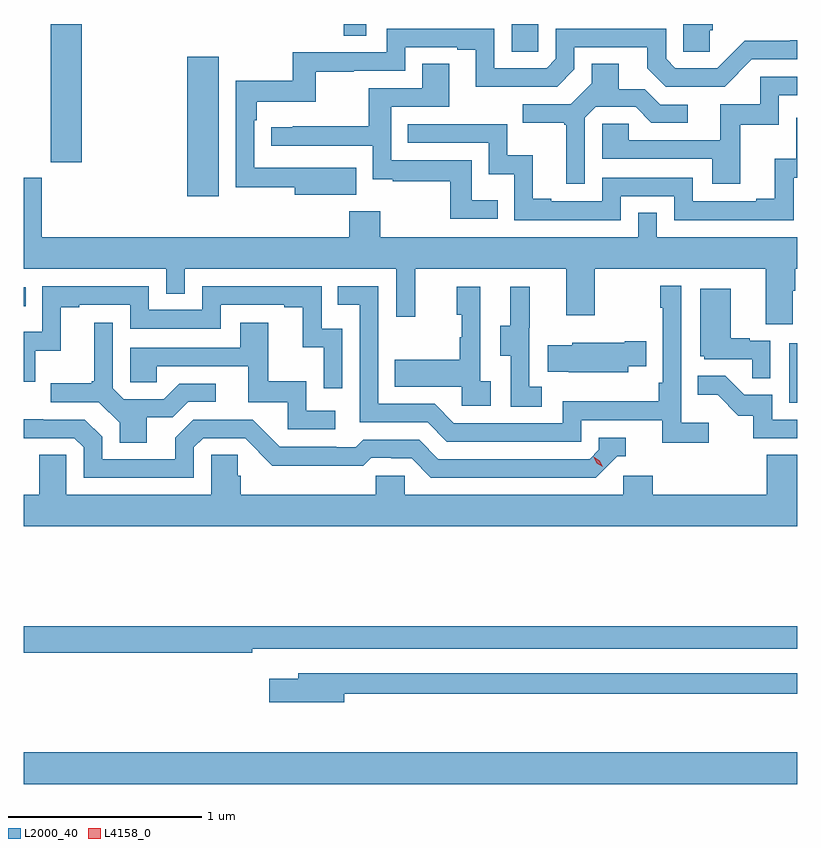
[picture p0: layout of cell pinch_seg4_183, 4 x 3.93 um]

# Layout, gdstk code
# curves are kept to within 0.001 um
import gdstk
lib = gdstk.Library(unit=1e-6, precision=1e-09)
def R(c, l, rs):  # rectangles x0, y0, x1, y1
    for r in rs: c.add(gdstk.rectangle(r[:2], r[2:], *l))
def P(c, l, *ps):  # polygons
    for p in ps: c.add(gdstk.Polygon(p, *l))
L2000_40 = (2000, 40)
L4158_0 = (4158, 0)

pinch_seg4_183 = lib.new_cell('pinch_seg4_183')
R(pinch_seg4_183, L2000_40, [(1089.362,803.48,1093.362,803.644), (1093.322,805.452,1093.362,805.759), (1089.362,805.952,1089.371,806.049), (1090.208,806.52,1090.369,807.241), (1089.502,806.697,1089.662,807.411), (1091.885,807.268,1092.024,807.411), (1091.017,807.349,1091.133,807.411)])
P(pinch_seg4_183, L2000_40, [(1092.911,807.378),(1092.926,807.378),(1092.926,807.411),(1092.774,807.411),(1092.774,807.268),(1092.911,807.268)],
  [(1091.081,806.668),(1090.554,806.667),(1090.554,806.912),(1090.568,806.912),(1090.568,807.008),(1090.873,807.008),(1090.873,807.163),(1091.069,807.163),(1091.069,807.168),(1091.334,807.168),(1091.334,807.291),(1091.603,807.291),(1091.603,807.279),(1091.699,807.279),(1091.699,807.086),(1092.12,807.087),(1092.21,807.177),(1092.21,807.291),(1092.587,807.291),(1092.587,807.181),(1092.681,807.087),(1092.987,807.087),(1093.128,807.228),(1093.362,807.228),(1093.362,807.328),(1093.326,807.328),(1093.326,807.325),(1093.09,807.325),(1092.948,807.183),(1092.732,807.183),(1092.684,807.231),(1092.684,807.387),(1092.114,807.387),(1092.114,807.231),(1092.066,807.183),(1091.796,807.183),(1091.796,807.387),(1091.238,807.387),(1091.238,807.264),(1090.752,807.264),(1090.752,807.118),(1090.458,807.118),(1090.458,806.566),(1090.763,806.566),(1090.763,806.528),(1091.081,806.528)],
  [(1091.813,806.5),(1091.679,806.5),(1091.679,806.706),(1091.262,806.706),(1091.262,806.982),(1091.563,806.982),(1091.563,807.206),(1091.423,807.206),(1091.423,807.078),(1091.146,807.078),(1091.146,806.882),(1090.753,806.882),(1090.753,806.877),(1090.641,806.877),(1090.641,806.781),(1091.166,806.781),(1091.166,806.609),(1091.269,806.609),(1091.269,806.598),(1091.568,806.598),(1091.568,806.403),(1091.813,806.403)],
  [(1092.264,806.925),(1092.321,806.982),(1092.527,806.982),(1092.608,806.901),(1092.796,806.901),(1092.796,806.994),(1092.654,806.994),(1092.574,807.074),(1092.439,807.074),(1092.439,807.206),(1092.299,807.206),(1092.299,807.104),(1092.192,806.997),(1091.943,806.997),(1091.943,806.9),(1092.156,806.9),(1092.156,806.889),(1092.167,806.889),(1092.167,806.586),(1092.264,806.586)],
  [(1093.067,806.889),(1093.266,806.889),(1093.266,807.042),(1093.362,807.042),(1093.362,807.138),(1093.17,807.138),(1093.17,806.997),(1092.965,806.997),(1092.965,806.811),(1092.491,806.811),(1092.491,806.895),(1092.354,806.895),(1092.354,806.715),(1092.923,806.715),(1092.923,806.586),(1093.067,806.586)],
  [(1092.45,806.52),(1092.726,806.52),(1092.726,806.397),(1093.344,806.397),(1093.344,806.616),(1093.362,806.616),(1093.362,806.926),(1093.356,806.926),(1093.356,806.714),(1093.247,806.714),(1093.247,806.506),(1093.151,806.506),(1093.151,806.493),(1092.822,806.493),(1092.822,806.616),(1092.354,806.616),(1092.354,806.493),(1092.091,806.493),(1092.091,806.506),(1091.995,806.506),(1091.995,806.731),(1091.862,806.731),(1091.862,806.892),(1091.347,806.892),(1091.347,806.796),(1091.766,806.796),(1091.766,806.633),(1091.898,806.633),(1091.898,806.397),(1092.45,806.397)],
  [(1093.339,806.032),(1093.352,806.032),(1093.352,806.144),(1093.362,806.144),(1093.362,806.308),(1092.636,806.308),(1092.636,806.435),(1092.54,806.435),(1092.54,806.308),(1091.205,806.308),(1091.205,806.443),(1091.045,806.443),(1091.045,806.308),(1089.454,806.308),(1089.454,806.617),(1089.362,806.617),(1089.362,806.144),(1090.098,806.144),(1090.098,806.017),(1090.194,806.017),(1090.194,806.144),(1091.289,806.144),(1091.289,805.896),(1091.387,805.896),(1091.387,806.144),(1092.167,806.144),(1092.167,805.905),(1092.315,805.905),(1092.315,806.144),(1093.199,806.144),(1093.199,805.858),(1093.339,805.858)],
  [(1092.904,805.348),(1092.762,805.348),(1092.762,806.056),(1092.654,806.056),(1092.654,805.943),(1092.666,805.943),(1092.666,805.555),(1092.646,805.555),(1092.646,805.459),(1092.15,805.459),(1092.15,805.347),(1091.586,805.347),(1091.487,805.446),(1091.196,805.446),(1091.196,806.055),(1090.987,806.055),(1090.987,805.959),(1091.1,805.959),(1091.1,805.35),(1091.45,805.35),(1091.549,805.251),(1092.246,805.251),(1092.246,805.362),(1092.665,805.362),(1092.665,805.246),(1092.904,805.246)],
  [(1091.01,805.836),(1090.902,805.836),(1090.902,806.055),(1090.284,806.055),(1090.284,805.932),(1090.008,805.932),(1090.008,806.055),(1089.456,806.055),(1089.456,805.819),(1089.362,805.819),(1089.362,805.56),(1089.42,805.56),(1089.42,805.721),(1089.553,805.721),(1089.553,805.947),(1089.649,805.947),(1089.649,805.959),(1089.912,805.959),(1089.912,805.836),(1090.38,805.836),(1090.38,805.959),(1090.709,805.959),(1090.709,805.947),(1090.805,805.947),(1090.805,805.739),(1090.914,805.739),(1090.914,805.527),(1091.01,805.527)],
  [(1091.776,805.562),(1091.724,805.562),(1091.724,806.053),(1091.6,806.053),(1091.6,805.908),(1091.626,805.908),(1091.626,805.79),(1091.616,805.79),(1091.616,805.675),(1091.281,805.675),(1091.281,805.535),(1091.628,805.535),(1091.628,805.437),(1091.776,805.437)],
  [(1092.04,805.535),(1091.976,805.535),(1091.976,805.839),(1091.978,805.839),(1091.978,806.053),(1091.879,806.053),(1091.879,805.851),(1091.825,805.851),(1091.825,805.696),(1091.88,805.696),(1091.88,805.432),(1092.04,805.432)],
  [(1093.224,805.773),(1093.118,805.773),(1093.118,805.786),(1093.018,805.786),(1093.018,806.041),(1092.86,806.041),(1092.86,805.692),(1092.882,805.692),(1092.882,805.677),(1093.129,805.677),(1093.129,805.579),(1093.224,805.579)],
  [(1090.972,805.41),(1090.824,805.41),(1090.824,805.564),(1090.625,805.564),(1090.625,805.867),(1090.481,805.867),(1090.481,805.737),(1089.912,805.737),(1089.912,805.557),(1090.049,805.557),(1090.049,805.641),(1090.523,805.641),(1090.523,805.455),(1090.728,805.455),(1090.728,805.314),(1090.972,805.314)],
  [(1089.997,805.378),(1090.132,805.378),(1090.212,805.458),(1090.354,805.458),(1090.354,805.551),(1090.166,805.551),(1090.085,805.47),(1089.879,805.47),(1089.822,805.527),(1089.822,805.867),(1089.725,805.867),(1089.725,805.564),(1089.714,805.564),(1089.714,805.552),(1089.501,805.552),(1089.501,805.455),(1089.75,805.455),(1089.857,805.348),(1089.857,805.246),(1089.997,805.246)],
  [(1092.487,805.64),(1092.581,805.64),(1092.581,805.77),(1092.47,805.77),(1092.47,805.762),(1092.198,805.762),(1092.198,805.75),(1092.073,805.75),(1092.073,805.613),(1092.181,805.613),(1092.181,805.61),(1092.487,805.61)],
  [(1093.362,805.365),(1093.233,805.365),(1093.233,805.494),(1093.089,805.494),(1092.991,805.592),(1092.847,805.592),(1092.847,805.493),(1092.951,805.493),(1093.058,805.386),(1093.135,805.386),(1093.135,805.269),(1093.362,805.269)],
  [(1090.242,805.221),(1090.29,805.269),(1090.506,805.269),(1090.648,805.127),(1090.884,805.127),(1090.884,805.125),(1091.117,805.125),(1091.159,805.167),(1091.262,805.167),(1091.262,805.164),(1091.369,805.164),(1091.468,805.065),(1092.321,805.065),(1092.432,805.176),(1092.475,805.176),(1092.475,805.272),(1092.336,805.272),(1092.336,805.209),(1092.288,805.161),(1091.505,805.161),(1091.406,805.26),(1091.117,805.26),(1091.078,805.221),(1090.979,805.221),(1090.979,805.224),(1090.686,805.224),(1090.545,805.365),(1090.239,805.365),(1090.145,805.271),(1090.145,805.161),(1089.768,805.161),(1089.768,805.275),(1089.678,805.365),(1089.462,805.365),(1089.462,805.367),(1089.362,805.367),(1089.362,805.269),(1089.624,805.269),(1089.672,805.221),(1089.672,805.065),(1090.242,805.065)],
  [(1093.362,805.184),(1093.205,805.184),(1093.205,804.976),(1092.614,804.976),(1092.614,805.074),(1092.462,805.074),(1092.462,804.976),(1091.331,804.976),(1091.331,805.074),(1091.181,805.074),(1091.181,804.976),(1090.484,804.976),(1090.484,805.074),(1090.469,805.074),(1090.469,805.184),(1090.332,805.184),(1090.332,804.976),(1089.582,804.976),(1089.582,805.184),(1089.443,805.184),(1089.443,804.976),(1089.362,804.976),(1089.362,804.812),(1093.362,804.812)],
  [(1090.544,804.18),(1093.362,804.18),(1093.362,804.296),(1089.362,804.296),(1089.362,804.16),(1090.544,804.16)],
  [(1091.02,803.946),(1093.362,803.946),(1093.362,804.054),(1090.781,804.054),(1090.781,804.025),(1090.632,804.025),(1090.632,803.903),(1091.02,803.903)])
P(pinch_seg4_183, L4158_0, [(1092.356,805.12),(1092.325,805.139),(1092.309,805.172),(1092.309,805.173),(1092.309,805.173),(1092.34,805.153),(1092.356,805.12),(1092.356,805.12)])

lib.write_gds('pinch_seg4_183.gds')
